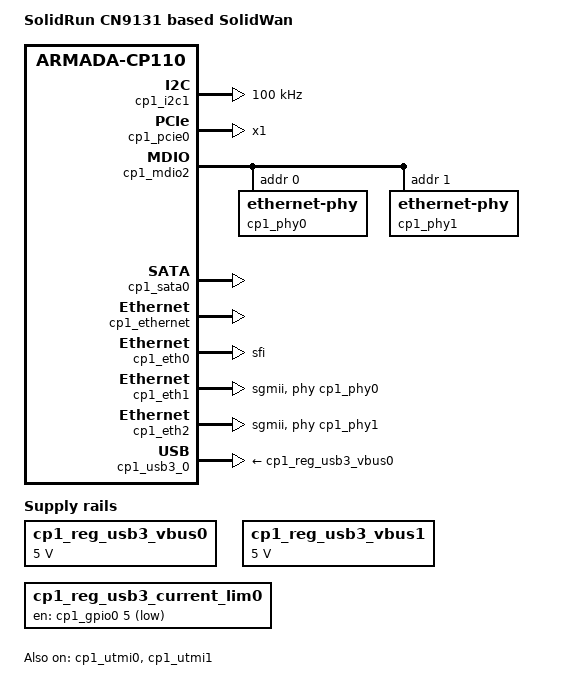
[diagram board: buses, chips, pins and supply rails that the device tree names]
/*
* Copyright (C) 2020 SolidRun ltd.
*
* SPDX-License-Identifier:    GPL-2.0
* https://spdx.org/licenses
*/

/* Device Tree file for the cn1931 based belden mbv carrier board, cp1  */

#undef CP110_NAME
#undef CP110_NUM
#undef CP110_PCIE_MEM_SIZE
#undef CP110_PCIEx_CPU_MEM_BASE
#undef CP110_PCIEx_BUS_MEM_BASE

/* CP110-1 Settings */
#define CP110_NAME                     cp1
#define CP110_NUM                      1
#define CP110_PCIE_MEM_SIZE(iface)     (0xf00000)
#define CP110_PCIEx_CPU_MEM_BASE(iface)        (0xe2000000 + (iface) * 0x1000000)
#define CP110_PCIEx_BUS_MEM_BASE(iface)        (CP110_PCIEx_CPU_MEM_BASE(iface))

#include "armada-cp110.dtsi"

/ {
	model = "SolidRun CN9131 based SolidWan";
	compatible = "marvell,cn9131-db";

	aliases {
		gpio3 = &cp1_gpio0;
		gpio4 = &cp1_gpio1;
		fuse5 = &cp1_ld_efuse0; /* bank 68 RO */
		fuse6 = &cp1_ld_efuse1; /* bank 69 RW */
	};

	cp1 {
		config-space {
			cp1_reg_usb3_vbus0: cp1_usb3_vbus@0 {
				compatible = "regulator-fixed";
				pinctrl-names = "default";
				//pinctrl-0 = <&cp1_xhci0_vbus_pins>;
				regulator-name = "cp1-xhci0-vbus";
				regulator-min-microvolt = <5000000>;
				regulator-max-microvolt = <5000000>;
				startup-delay-us = <100000>;
				regulator-force-boot-off;
				//gpio = <&cp1_gpio0 5 GPIO_ACTIVE_HIGH>;
			};

			cp1_reg_usb3_vbus1: cp1_usb3_vbus@0 {
				compatible = "regulator-fixed";
				pinctrl-names = "default";
				//pinctrl-0 = <&cp1_xhci0_vbus_pins>;
				regulator-name = "cp1-xhci0-vbus";
				regulator-min-microvolt = <5000000>;
				regulator-max-microvolt = <5000000>;
				startup-delay-us = <100000>;
				regulator-force-boot-off;
				//gpio = <&cp1_gpio0 5 GPIO_ACTIVE_HIGH>;
			};

			cp1_reg_usb3_current_lim0: cp1_usb3_current_limiter@0 {
				compatible = "regulator-fixed";
				regulator-min-microamp = <900000>;
				regulator-max-microamp = <900000>;
				regulator-force-boot-off;
				gpio = <&cp1_gpio0 5 GPIO_ACTIVE_HIGH>;
			};
		};
	};
};
&cp1_ld_efuse0 {
 status = "disabled";
};

&cp1_ld_efuse1 {
 status = "disabled";
};

&cp1_i2c1 {
	pinctrl-names = "default";
	pinctrl-0 = <&cp1_i2c1_pins>;
	clock-frequency = <100000>;
	status = "okay";
};


&cp1_utmi0 {
	status = "okay";
};
&cp1_utmi1 {
	status = "okay";
};
/*
&cp1_usb3_1 {
	status = "okay";
	vbus-supply = <&cp1_reg_usb3_vbus1>;
};
*/
&cp1_pcie0 {
	pinctrl-names = "default";
	num-lanes = <1>;
	/* non-prefetchable memory */
	ranges = <0x82000000 0 0xe2000000 0 0xe2000000 0 0xf00000>;
	//pinctrl-names = "default";
	//marvell,reset-gpio = <&cp1_gpio0 29 GPIO_ACTIVE_LOW>;
	status = "okay";
};

&cp1_pinctl {
	compatible = "marvell,mvebu-pinctrl",
				 "marvell,cp115-standalone-pinctrl";
	bank-name ="cp1-110";

	/* MPP Bus:
	*	[1:0]	UART0
	*	[29:2]	NC
	*	[30:29] GPIO - M.2 Power off
	*	[32:31]	NC
	*	[34:33] SFP GPIOs
	*	[36:35] I2C
	*	[38:37]	SMI
	*	[41:40]	UART1
	*	[48:42]	NC
	*	[50:49] SFP GPIOs
	*	[62:51]	NC
	*/
	/*			 0    1    2    3    4    5    6    7    8    9 */
	pin-func = < 0x8  0x8  0x0  0x0  0x0  0x0  0x0  0x0  0x0  0x0
				 0x0  0x0  0x0  0x0  0x0  0x0  0x0  0x0  0x0  0x0
				 0x0  0x0  0x0  0x0  0x0  0x0  0x0  0x0  0x0  0x0
				 0x0  0x0  0x0  0x0  0x0  0x2  0x2  0x7  0x7  0x0
				 0x7  0x7  0x0  0x0  0x0  0x0  0x0  0x0  0x0  0x0
				 0x0  0x0  0x0  0x0  0x0  0x0  0x0  0x0  0x0  0x0
				 0x0  0x0  0x0 >;

	cp1_uart0_pins: cp1-uart0-pins-1 {
		marvell,pins = < 0 1 >;
		marvell,function = <8>;
	};

	cp1_uart1_pins: cp1-uart1-pins-1 {
		marvell,pins = < 40 41 >;
		marvell,function = <7>;
	};

	cp1_i2c1_pins: cp1-i2c-pins-1 {
		marvell,pins = < 35 36 >;
		marvell,function = <2>;
	};

	cp1_mdio_pins: cp1-mdio-pins {
		marvell,pins = < 37 38 >;
		marvell,function = <7>;
	};
};

&cp1_mdio2 {
	pinctrl-0 = <&cp1_mdio_pins>;
	status = "okay";

	cp1_phy0: ethernet-phy@0 {
		marvell,reg-init = <3 16 0 0x1017>;
		reg = <0>;
	};

	cp1_phy1: ethernet-phy@1 {
		marvell,reg-init = <3 16 0 0x1017>;
		reg = <1>;
	};
};

/* SATA0  */
&cp1_sata0 {
	status = "okay";
};

&cp1_ethernet {
	status = "okay";
};

&cp1_eth0 {
	phy-mode = "sfi";
	compatible = "sff,sfp";
	i2c-bus = <&cp1_i2c1>;
	los-gpio = <&cp1_gpio1 2 GPIO_ACTIVE_HIGH>; //MPP34
	mod-def0-gpio = <&cp1_gpio1 18 GPIO_ACTIVE_LOW>; //MPP50
	tx-disable-gpio = <&cp1_gpio1 1 GPIO_ACTIVE_HIGH>; //MPP33
	tx-fault-gpio = <&cp1_gpio1 17 GPIO_ACTIVE_HIGH>; //MPP49
	maximum-power-milliwatt = <2000>;
	status = "okay";
};

/* SERDES 3 SGMII */
&cp1_eth1 {
	phy-mode = "sgmii";
	phy = <&cp1_phy0>;
	/*
	 * All Carrier PHYs share single reset line
	 * phy-reset-gpios = <&cp0_gpio1 7 GPIO_ACTIVE_LOW>; // MPP39
	 */
	status = "okay";
};

/* SERDES 5 SGMII */
&cp1_eth2 {
	phy-mode = "sgmii";
	phy = <&cp1_phy1>;
	/*
	 * All Carrier PHYs share single reset line
	 * phy-reset-gpios = <&cp0_gpio1 7 GPIO_ACTIVE_LOW>; // MPP39
	 */
	status = "okay";
};

/* M.2 LTE USB */
&cp1_usb3_0 {
	vbus-supply = <&cp1_reg_usb3_vbus0>;
	status = "okay";
};
